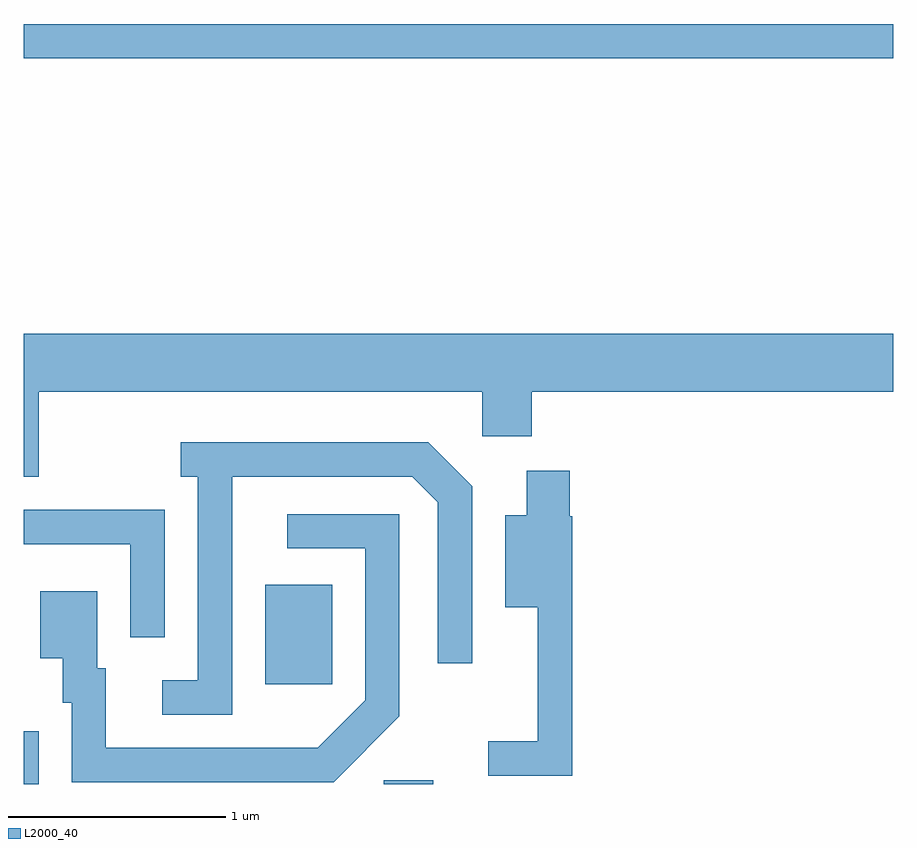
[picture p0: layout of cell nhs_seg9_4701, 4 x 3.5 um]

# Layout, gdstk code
import gdstk
lib = gdstk.Library(unit=1e-6, precision=1e-09)
def R(c, l, rs):  # rectangles x0, y0, x1, y1
    for r in rs: c.add(gdstk.rectangle(r[:2], r[2:], *l))
def P(c, l, *ps):  # polygons
    for p in ps: c.add(gdstk.Polygon(p, *l))
L2000_40 = (2000, 40)

nhs_seg9_4701 = lib.new_cell('nhs_seg9_4701')
R(nhs_seg9_4701, L2000_40, [(323.611,2014.432,323.679,2014.674), (325.266,2014.432,325.494,2014.449), (324.721,2014.891,325.029,2015.349), (323.611,2017.771,327.611,2017.929)])
P(nhs_seg9_4701, L2000_40, [(323.679,2016.236),(325.721,2016.236),(325.721,2016.031),(325.949,2016.031),(325.949,2016.236),(327.611,2016.236),(327.611,2016.504),(323.611,2016.504),(323.611,2015.846),(323.679,2015.846)],
  [(324.569,2015.846),(325.399,2015.846),(325.516,2015.729),(325.516,2014.988),(325.674,2014.988),(325.674,2015.802),(325.472,2016.004),(324.333,2016.004),(324.333,2015.846),(324.411,2015.846),(324.411,2014.909),(324.248,2014.909),(324.248,2014.751),(324.569,2014.751)],
  [(326.134,2015.665),(326.124,2015.665),(326.124,2015.874),(325.926,2015.874),(325.926,2015.669),(325.826,2015.669),(325.826,2015.246),(325.976,2015.246),(325.976,2014.629),(325.748,2014.629),(325.748,2014.471),(326.134,2014.471)],
  [(324.259,2015.694),(323.611,2015.694),(323.611,2015.536),(324.101,2015.536),(324.101,2015.108),(324.259,2015.108)],
  [(325.339,2014.744),(325.339,2015.674),(324.823,2015.674),(324.823,2015.516),(325.181,2015.516),(325.181,2014.817),(324.964,2014.599),(323.989,2014.599),(323.989,2014.964),(323.949,2014.964),(323.949,2015.319),(323.686,2015.319),(323.686,2015.011),(323.791,2015.011),(323.791,2014.806),(323.831,2014.806),(323.831,2014.441),(325.037,2014.441)])

lib.write_gds('nhs_seg9_4701.gds')
